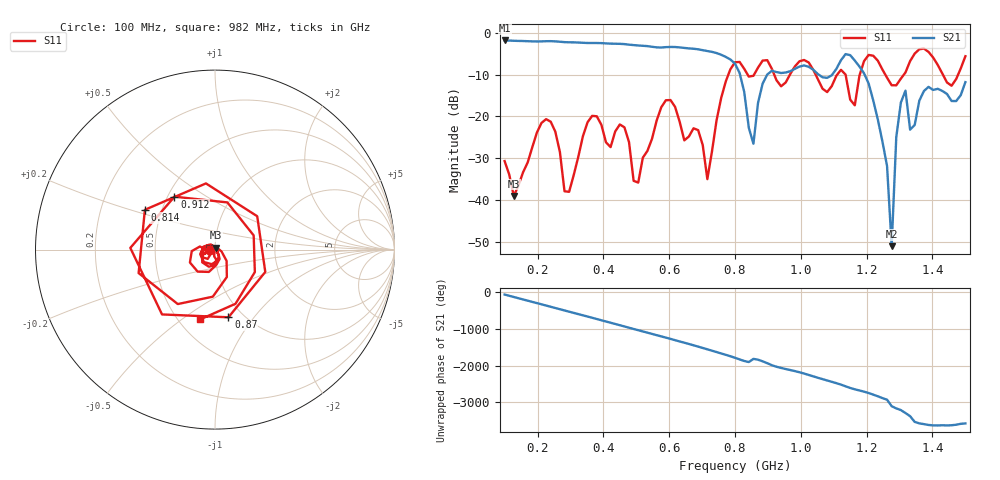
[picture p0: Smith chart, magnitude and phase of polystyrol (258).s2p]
! NanoVNA-App
! Date: 2025-09-25 15:31:54
! Start: 100MHz Stop: 1,5GHz Points: 101
! S-Parameter data: F S11 S21 S12 S22
# Hz S RI R 50
!  Frequency  S11_Real  S11_Imag  S21_Real  S21_Imag  S12_Real  S12_Imag  S22_Real  S22_Imag
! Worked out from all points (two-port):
!   101 points, 100 MHz to 1.5 GHz, reference 50 ohm
!   highest |S21| = -1.80 dB at 100 MHz (marker M1); lowest = -51.1 dB at 1.276 GHz (marker M2)
!   |S21| within 3 dB of the highest: start of sweep to 743 MHz
!   lowest |S11| = -39.1 dB at 128 MHz (marker M3), VSWR 1.02, Z = 50.3 + j1.06 ohm
!   |S11| at or under -10 dB: start of sweep to 779.7 MHz; 1.045 GHz to 1.11 GHz (65.4 MHz wide, 6.07 % of centre); 1.257 GHz to 1.313 GHz (56.21 MHz wide, 4.38 % of centre) (the widest 3 of 7)
!   S12 and S22 are empty: the file has one direction only
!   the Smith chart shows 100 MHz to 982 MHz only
!   S11 on the Smith chart (normalised r, x): 100 MHz: 0.94, -0.01; 814 MHz: 0.40, +0.22; 870 MHz: 0.85, -0.76; 912 MHz: 0.54, +0.37; 982 MHz: 0.64, -0.59
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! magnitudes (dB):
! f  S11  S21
! 100 MHz  -30.7  -1.8
! 128 MHz  -39.1  -1.9
! 212 MHz  -21.6  -2.0
! 282 MHz  -37.9  -2.2
! 338 MHz  -24.7  -2.4
! 506 MHz  -35.9  -3.0
! 576 MHz  -17.8  -3.5
! 716 MHz  -35.0  -4.3
! 800 MHz  -7.0  -7.4
! 814 MHz  -7.0  -9.6
! 856 MHz  -10.3  -26.5
! 870 MHz  -8.3  -16.7
! 912 MHz  -8.6  -9.1
! 982 MHz  -8.0  -8.6
! 1.038 GHz  -8.9  -8.8
! 1.164 GHz  -17.3  -6.6
! 1.206 GHz  -5.3  -12.1
! 1.262 GHz  -10.7  -31.9
! 1.276 GHz  -12.5  -51.1
! 1.29 GHz  -12.5  -24.9
! 1.318 GHz  -9.5  -13.8
! 1.5 GHz  -5.6  -11.8
